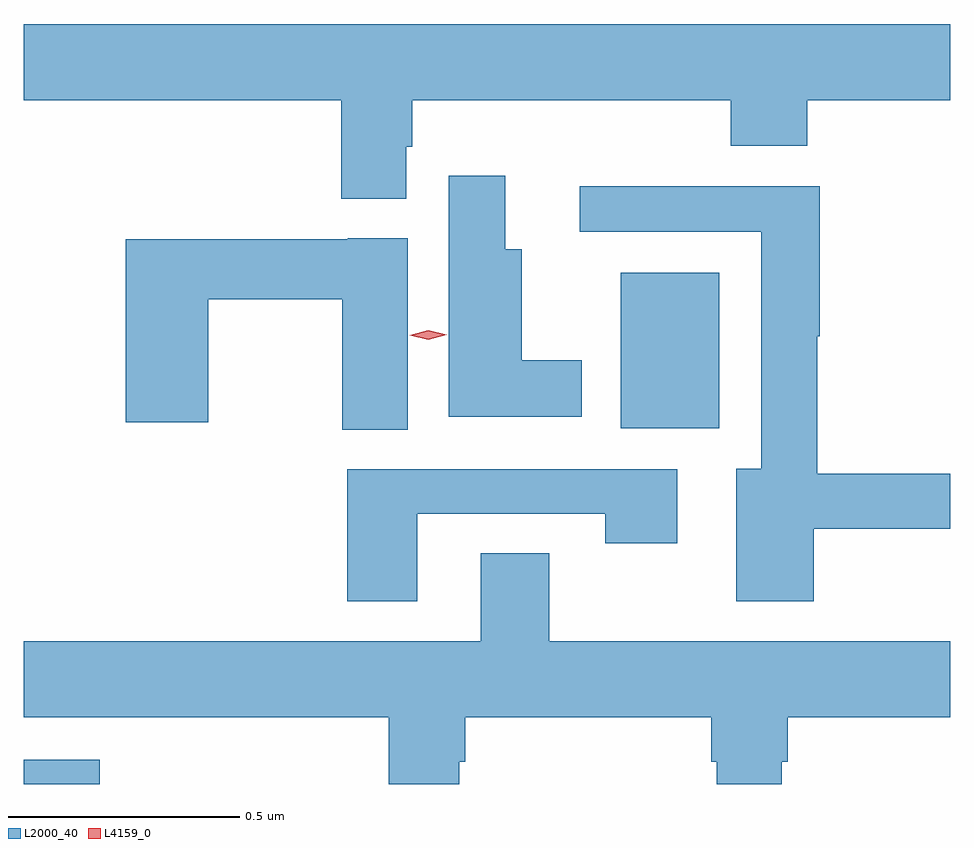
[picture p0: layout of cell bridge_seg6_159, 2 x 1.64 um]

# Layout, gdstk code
import gdstk
lib = gdstk.Library(unit=1e-6, precision=1e-09)
def R(c, l, rs):  # rectangles x0, y0, x1, y1
    for r in rs: c.add(gdstk.rectangle(r[:2], r[2:], *l))
def P(c, l, *ps):  # polygons
    for p in ps: c.add(gdstk.Polygon(p, *l))
L2000_40 = (2000, 40)
L4159_0 = (4159, 0)

bridge_seg6_159 = lib.new_cell('bridge_seg6_159')
R(bridge_seg6_159, L2000_40, [(540.069,923.216,540.233,923.268), (541.358,923.984,541.57,924.319)])
P(bridge_seg6_159, L2000_40, [(540.895,924.591),(540.908,924.591),(540.908,924.692),(541.595,924.692),(541.595,924.593),(541.76,924.593),(541.76,924.692),(542.069,924.692),(542.069,924.856),(540.069,924.856),(540.069,924.692),(540.755,924.692),(540.755,924.479),(540.895,924.479)],
  [(541.273,924.13),(541.144,924.13),(541.144,924.37),(541.108,924.37),(541.108,924.529),(540.986,924.529),(540.986,924.008),(541.273,924.008)],
  [(541.774,923.767),(542.069,923.767),(542.069,923.885),(541.782,923.885),(541.782,924.182),(541.787,924.182),(541.787,924.506),(541.269,924.506),(541.269,924.408),(541.661,924.408),(541.661,923.896),(541.607,923.896),(541.607,923.61),(541.774,923.61)],
  [(540.898,924.394),(540.768,924.394),(540.768,924.391),(540.29,924.391),(540.29,923.997),(540.468,923.997),(540.468,924.262),(540.757,924.262),(540.757,923.98),(540.898,923.98)],
  [(540.919,923.799),(541.324,923.799),(541.324,923.736),(541.48,923.736),(541.48,923.895),(540.767,923.895),(540.767,923.61),(540.919,923.61)],
  [(541.009,923.264),(541.022,923.264),(541.022,923.36),(541.553,923.36),(541.553,923.264),(541.565,923.264),(541.565,923.216),(541.705,923.216),(541.705,923.264),(541.718,923.264),(541.718,923.36),(542.069,923.36),(542.069,923.524),(541.203,923.524),(541.203,923.714),(541.055,923.714),(541.055,923.524),(540.069,923.524),(540.069,923.36),(540.857,923.36),(540.857,923.216),(541.009,923.216)])
P(bridge_seg6_159, L4159_0, [(540.942,924.175),(540.902,924.184),(540.902,924.184),(540.902,924.184),(540.942,924.195),(540.982,924.185),(540.982,924.185),(540.982,924.185)])

lib.write_gds('bridge_seg6_159.gds')
